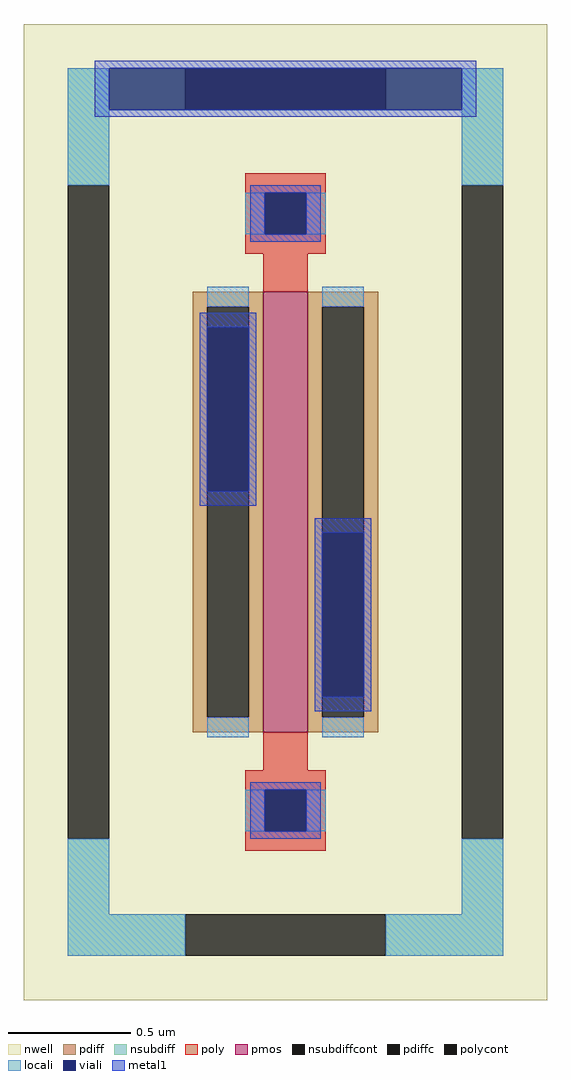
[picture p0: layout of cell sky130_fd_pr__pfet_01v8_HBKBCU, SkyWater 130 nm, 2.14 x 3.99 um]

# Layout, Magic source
magic
tech sky130A
magscale 1 2
<< nwell >>
rect -214 -399 214 399
<< pmos >>
rect -18 -180 18 180
<< pdiff >>
rect -76 168 -18 180
rect -76 -168 -64 168
rect -30 -168 -18 168
rect -76 -180 -18 -168
rect 18 168 76 180
rect 18 -168 30 168
rect 64 -168 76 168
rect 18 -180 76 -168
<< pdiffc >>
rect -64 -168 -30 168
rect 30 -168 64 168
<< nsubdiff >>
rect -178 329 -82 363
rect 82 329 178 363
rect -178 267 -144 329
rect 144 267 178 329
rect -178 -329 -144 -267
rect 144 -329 178 -267
rect -178 -363 -82 -329
rect 82 -363 178 -329
<< nsubdiffcont >>
rect -82 329 82 363
rect -178 -267 -144 267
rect 144 -267 178 267
rect -82 -363 82 -329
<< poly >>
rect -33 261 33 277
rect -33 227 -17 261
rect 17 227 33 261
rect -33 211 33 227
rect -18 180 18 211
rect -18 -211 18 -180
rect -33 -227 33 -211
rect -33 -261 -17 -227
rect 17 -261 33 -227
rect -33 -277 33 -261
<< polycont >>
rect -17 227 17 261
rect -17 -261 17 -227
<< locali >>
rect -178 267 -144 363
rect 144 267 178 363
rect -33 227 -17 261
rect 17 227 33 261
rect -64 168 -30 184
rect -64 -184 -30 -168
rect 30 168 64 184
rect 30 -184 64 -168
rect -33 -261 -17 -227
rect 17 -261 33 -227
rect -178 -329 -144 -267
rect 144 -329 178 -267
rect -178 -363 -82 -329
rect 82 -363 178 -329
<< viali >>
rect -144 329 -82 363
rect -82 329 82 363
rect 82 329 144 363
rect -17 227 17 261
rect -64 17 -30 151
rect 30 -151 64 -17
rect -17 -261 17 -227
<< metal1 >>
rect -156 363 156 369
rect -156 329 -144 363
rect 144 329 156 363
rect -156 323 156 329
rect -29 261 29 267
rect -29 227 -17 261
rect 17 227 29 261
rect -29 221 29 227
rect -70 151 -24 163
rect -70 17 -64 151
rect -30 17 -24 151
rect -70 5 -24 17
rect 24 -17 70 -5
rect 24 -151 30 -17
rect 64 -151 70 -17
rect 24 -163 70 -151
rect -29 -227 29 -221
rect -29 -261 -17 -227
rect 17 -261 29 -227
rect -29 -267 29 -261
<< properties >>
string FIXED_BBOX -161 -346 161 346
string gencell sky130_fd_pr__pfet_01v8
string library sky130
string parameters w 1.8 l 0.18 m 1 nf 1 diffcov 100 polycov 100 guard 1 glc 1 grc 1 gtc 1 gbc 1 tbcov 100 rlcov 100 topc 1 botc 1 poverlap 0 doverlap 1 lmin 0.15 wmin 0.42 compatible {sky130_fd_pr__pfet_01v8  sky130_fd_pr__pfet_01v8_lvt sky130_fd_pr__pfet_01v8_hvt  sky130_fd_pr__pfet_g5v0d10v5} full_metal 1 viasrc +40 viadrn -40 viagate 100 viagb 0 viagr 0 viagl 0 viagt 100
<< end >>
